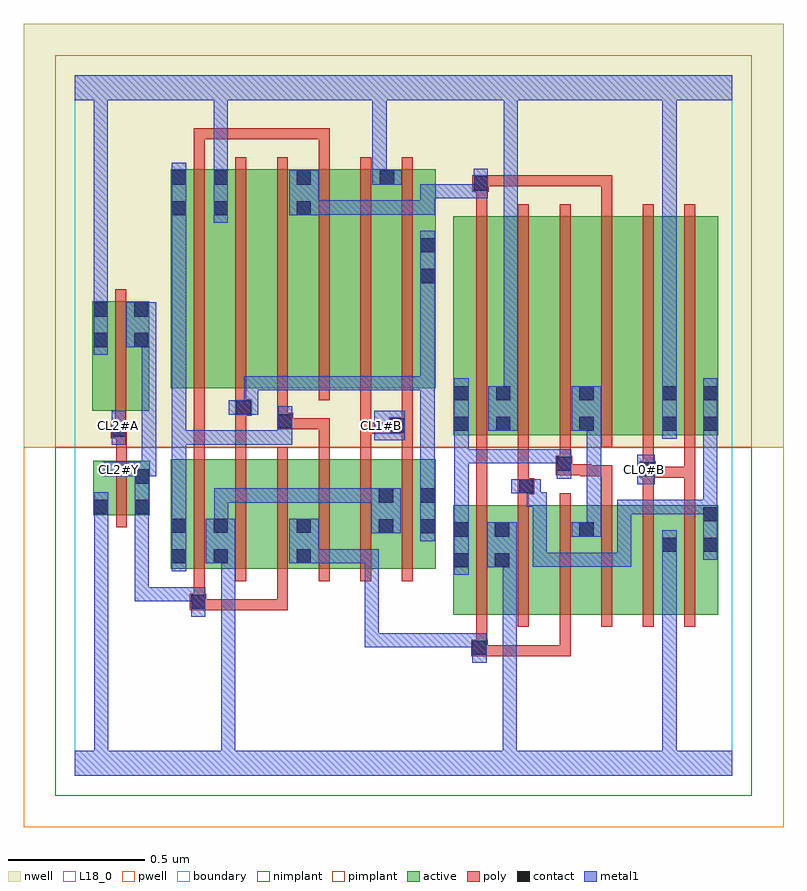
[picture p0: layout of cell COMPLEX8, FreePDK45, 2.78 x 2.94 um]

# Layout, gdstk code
import gdstk
lib = gdstk.Library(unit=1e-6, precision=1e-09)
def R(c, l, rs):  # rectangles x0, y0, x1, y1
    for r in rs: c.add(gdstk.rectangle(r[:2], r[2:], *l))
def A(c, l, x, y, w, h, nx, ny, dx, dy):  # array of equal rectangles
    R(c, l, [(x+i*dx, y+j*dy, x+i*dx+w, y+j*dy+h) for i in range(nx) for j in range(ny)])
active = (1, 0)
pwell = (2, 0)
nwell = (3, 0)
nimplant = (4, 0)
pimplant = (5, 0)
poly = (9, 0)
contact = (10, 0)
metal1 = (11, 0)
L18_0 = (18, 0)
boundary = (235, 0)

complex8 = lib.new_cell('COMPLEX8')
A(complex8, active, 1.534, 1.244, 0.06, 0.8, 3, 1, 0.304, 0)
R(complex8, active, [(1.382,0.588,1.59,0.988), (1.53,0.588,1.714,0.988), (1.714,0.588,1.898,0.988), (1.838,0.588,2.018,0.988), (2.018,0.588,2.202,0.988), (2.142,0.588,2.35,0.988), (0.35,0.756,0.41,1.156), (0.35,0.756,0.562,1.156), (0.502,0.756,0.682,1.156), (0.502,0.756,0.562,1.156), (0.682,0.756,0.866,1.156), (0.806,0.756,0.986,1.156), (0.806,0.756,0.866,1.156), (0.986,0.756,1.166,1.156), (1.106,0.756,1.166,1.156), (1.106,0.756,1.318,1.156), (1.258,0.756,1.318,1.156), (1.382,0.756,1.442,0.988), (1.53,0.756,1.59,0.93), (1.838,0.756,1.898,0.988), (2.142,0.756,2.202,0.874), (2.29,0.756,2.35,0.988), (0.066,0.952,0.126,1.152), (0.066,0.952,0.274,1.152), (0.214,0.952,0.274,1.152), (1.382,1.244,1.442,2.044), (1.382,1.244,1.594,2.044), (1.534,1.244,1.714,2.044), (1.714,1.244,1.898,2.044), (1.838,1.244,2.018,2.044), (2.018,1.244,2.202,2.044), (2.142,1.244,2.35,2.044), (2.29,1.244,2.35,2.044), (0.064,1.334,0.272,1.734), (0.064,1.334,0.124,1.734), (0.212,1.334,0.272,1.734), (0.35,1.416,0.41,2.216), (0.35,1.416,0.562,2.216), (0.502,1.416,0.682,2.216), (0.682,1.416,0.866,2.216), (0.806,1.416,0.866,2.216), (0.806,1.416,0.986,2.216), (0.986,1.416,1.17,2.216), (1.11,1.416,1.318,2.216), (1.258,1.416,1.318,2.044), (0.502,1.65,0.562,2.216), (1.11,1.686,1.17,2.216)])
R(complex8, pwell, [(-0.188,-0.188,2.588,1.2)])
R(complex8, nwell, [(-0.188,1.2,2.588,2.748)])
R(complex8, nimplant, [(-0.072,-0.072,2.472,1.2)])
R(complex8, pimplant, [(-0.072,1.2,2.472,2.632)])
A(complex8, poly, 1.466, 0.544, 0.04, 0.488, 6, 1, 0.152, 0)
A(complex8, poly, 0.434, 0.712, 0.04, 0.488, 6, 1, 0.152, 0)
A(complex8, poly, 1.466, 1.2, 0.04, 0.888, 6, 1, 0.152, 0)
A(complex8, poly, 0.434, 1.372, 0.04, 0.888, 6, 1, 0.152, 0)
R(complex8, poly, [(1.448,0.438,1.508,0.498), (1.468,0.438,1.508,0.478), (1.468,0.438,1.508,0.478), (1.468,0.438,1.618,0.478), (1.578,0.438,1.618,0.478), (1.578,0.438,1.618,0.478), (1.578,0.438,1.618,0.478), (1.578,0.438,1.81,0.478), (1.77,0.438,1.81,0.478), (1.77,0.438,1.81,0.584), (1.466,0.458,1.506,0.584), (0.42,0.606,0.48,0.666), (0.44,0.606,0.48,0.646), (0.44,0.606,0.48,0.646), (0.44,0.606,0.586,0.646), (0.546,0.606,0.586,0.646), (0.546,0.606,0.586,0.646), (0.546,0.606,0.586,0.646), (0.546,0.606,0.778,0.646), (0.738,0.606,0.778,0.646), (0.738,0.606,0.778,0.752), (0.434,0.626,0.474,0.752), (0.15,0.908,0.19,1.196), (1.466,0.992,1.506,1.068), (1.618,0.992,1.658,1.068), (1.922,0.992,1.962,1.134), (2.074,0.992,2.114,1.13), (2.226,0.992,2.266,1.13), (1.466,1.028,1.506,1.068), (1.466,1.028,1.506,1.068), (1.466,1.028,1.506,1.068), (1.466,1.028,1.506,1.24), (1.618,1.028,1.678,1.088), (1.618,1.048,1.658,1.088), (1.618,1.048,1.658,1.088), (1.618,1.048,1.658,1.24), (2.062,1.09,2.122,1.15), (2.074,1.09,2.114,1.13), (2.074,1.09,2.114,1.13), (2.082,1.09,2.266,1.13), (2.226,1.09,2.266,1.24), (2.226,1.09,2.266,1.13), (2.226,1.09,2.266,1.13), (2.226,1.09,2.266,1.13), (2.226,1.09,2.266,1.13), (2.226,1.09,2.266,1.13), (1.846,1.094,1.962,1.134), (1.846,1.094,1.886,1.138), (1.922,1.094,1.962,1.134), (1.922,1.094,1.962,1.134), (1.922,1.094,1.962,1.134), (1.756,1.098,1.816,1.17), (1.776,1.098,1.886,1.138), (2.074,1.11,2.114,1.24), (1.77,1.13,1.81,1.24), (0.15,1.156,0.19,1.274), (0.434,1.16,0.474,1.236), (0.586,1.16,0.626,1.356), (0.89,1.16,0.93,1.306), (1.042,1.16,1.082,1.29), (1.194,1.16,1.234,1.29), (0.434,1.196,0.474,1.236), (0.434,1.196,0.474,1.236), (0.434,1.196,0.474,1.236), (0.434,1.196,0.474,1.412), (0.13,1.234,0.19,1.294), (0.15,1.234,0.19,1.274), (0.15,1.234,0.19,1.274), (1.042,1.25,1.082,1.29), (1.042,1.25,1.082,1.29), (1.042,1.25,1.082,1.29), (1.042,1.25,1.188,1.29), (1.042,1.25,1.082,1.412), (1.148,1.25,1.188,1.29), (1.148,1.25,1.188,1.29), (1.148,1.25,1.234,1.31), (0.148,1.254,0.188,1.33), (0.738,1.266,0.798,1.326), (0.758,1.266,0.93,1.306), (0.89,1.266,0.93,1.306), (0.89,1.266,0.93,1.306), (0.89,1.266,0.93,1.306), (1.194,1.27,1.234,1.31), (1.194,1.27,1.234,1.31), (1.194,1.27,1.234,1.412), (0.738,1.286,0.778,1.326), (0.738,1.286,0.778,1.326), (0.738,1.286,0.778,1.412), (0.148,1.29,0.188,1.778), (0.586,1.316,0.626,1.356), (0.586,1.316,0.626,1.356), (0.586,1.316,0.646,1.376), (0.586,1.336,0.626,1.412), (1.466,2.048,1.506,2.174), (1.922,2.048,1.962,2.194), (1.452,2.134,1.512,2.194), (1.472,2.154,1.512,2.194), (1.472,2.154,1.512,2.194), (1.472,2.154,1.674,2.194), (1.634,2.154,1.674,2.194), (1.634,2.154,1.78,2.194), (1.74,2.154,1.78,2.194), (1.74,2.154,1.78,2.194), (1.74,2.154,1.78,2.194), (1.74,2.154,1.962,2.194), (1.922,2.154,1.962,2.194), (1.922,2.154,1.962,2.194), (1.922,2.154,1.962,2.194), (0.434,2.22,0.474,2.366), (0.89,2.22,0.93,2.366), (0.434,2.326,0.474,2.366), (0.434,2.326,0.474,2.366), (0.434,2.326,0.474,2.366), (0.434,2.326,0.672,2.366), (0.632,2.326,0.672,2.366), (0.632,2.326,0.672,2.366), (0.632,2.326,0.672,2.366), (0.632,2.326,0.824,2.366), (0.784,2.326,0.824,2.366), (0.784,2.326,0.93,2.366), (0.89,2.326,0.93,2.366), (0.89,2.326,0.93,2.366), (0.89,2.326,0.93,2.366)])
A(complex8, contact, 1.538, 1.26, 0.052, 0.052, 3, 2, 0.304, 0.112)
A(complex8, contact, 0.506, 2.16, 0.052, 0.052, 3, 1, 0.304, 0)
R(complex8, contact, [(1.452,0.442,1.504,0.494), (0.424,0.61,0.476,0.662), (1.386,0.762,1.438,0.814), (1.534,0.762,1.586,0.814), (0.354,0.776,0.406,0.828), (0.506,0.776,0.558,0.828), (0.81,0.776,0.862,0.828), (2.146,0.818,2.198,0.87), (2.294,0.818,2.346,0.87), (1.386,0.874,1.438,0.926), (1.534,0.874,1.586,0.926), (1.842,0.874,1.894,0.926), (1.11,0.886,1.162,0.938), (1.262,0.886,1.314,0.938), (0.354,0.888,0.406,0.94), (0.506,0.888,0.558,0.94), (0.81,0.888,0.862,0.94), (2.294,0.93,2.346,0.982), (0.07,0.956,0.122,1.008), (0.218,0.956,0.27,1.008), (1.11,0.998,1.162,1.05), (1.262,0.998,1.314,1.05), (1.622,1.032,1.674,1.084), (0.218,1.068,0.27,1.12), (2.066,1.094,2.118,1.146), (1.76,1.114,1.812,1.166), (0.134,1.238,0.186,1.29), (1.152,1.254,1.204,1.306), (1.386,1.26,1.438,1.312), (2.294,1.26,2.346,1.312), (0.742,1.27,0.794,1.322), (0.59,1.32,0.642,1.372), (1.386,1.372,1.438,1.424), (2.294,1.372,2.346,1.424), (0.068,1.566,0.12,1.618), (0.216,1.566,0.268,1.618), (0.068,1.678,0.12,1.73), (0.216,1.678,0.268,1.73), (1.262,1.8,1.314,1.852), (1.262,1.912,1.314,1.964), (0.354,2.048,0.406,2.1), (0.506,2.048,0.558,2.1), (0.81,2.048,0.862,2.1), (1.456,2.138,1.508,2.19), (0.354,2.16,0.406,2.212)])
A(complex8, metal1, 0.508, 0.998, 0.162, 0.052, 4, 1, 0.11, 0)
A(complex8, metal1, 0.618, 0.998, 0.052, 0.052, 3, 1, 0.11, 0)
A(complex8, metal1, 1.386, 1.142, 0.052, 0.052, 3, 1, 0.11, 0)
A(complex8, metal1, 0.618, 1.408, 0.162, 0.052, 4, 1, 0.11, 0)
R(complex8, metal1, [(0,0,2.4,0.092), (0.07,0.04,0.122,0.092), (0.07,0.04,0.122,0.092), (0.07,0.04,0.122,0.092), (0.07,0.04,0.122,0.092), (0.07,0.04,0.122,0.092), (0.07,0.04,0.122,0.092), (0.07,0.04,0.122,0.092), (0.07,0.04,0.122,0.092), (0.07,0.04,0.122,0.092), (0.07,0.04,0.122,0.092), (0.07,0.04,0.122,0.092), (0.07,0.04,0.122,0.092), (0.07,0.04,0.122,0.092), (0.07,0.04,0.122,0.092), (0.07,0.04,0.122,0.98), (0.534,0.04,0.586,0.092), (0.534,0.04,0.586,0.092), (0.534,0.04,0.586,0.828), (1.562,0.04,1.614,0.092), (1.562,0.04,1.614,0.092), (1.562,0.04,1.614,0.092), (1.562,0.04,1.614,0.092), (1.562,0.04,1.614,0.092), (1.562,0.04,1.614,0.092), (1.562,0.04,1.614,0.092), (1.562,0.04,1.614,0.092), (1.562,0.04,1.614,0.092), (1.562,0.04,1.614,0.092), (1.562,0.04,1.614,0.092), (1.562,0.04,1.614,0.092), (1.562,0.04,1.614,0.814), (2.146,0.04,2.198,0.842), (1.452,0.414,1.504,0.522), (1.058,0.47,1.11,0.522), (1.058,0.47,1.11,0.522), (1.058,0.47,1.11,0.522), (1.058,0.47,1.328,0.522), (1.058,0.47,1.11,0.828), (1.276,0.47,1.328,0.522), (1.276,0.47,1.328,0.522), (1.276,0.47,1.328,0.522), (1.276,0.47,1.504,0.522), (0.424,0.582,0.476,0.69), (0.218,0.638,0.27,0.69), (0.218,0.638,0.27,0.69), (0.218,0.638,0.27,0.69), (0.218,0.638,0.27,0.69), (0.218,0.638,0.27,0.69), (0.218,0.638,0.27,0.69), (0.218,0.638,0.27,0.69), (0.218,0.638,0.42,0.69), (0.218,0.638,0.27,0.98), (0.368,0.638,0.42,0.69), (0.368,0.638,0.476,0.69), (1.386,0.734,1.438,0.954), (0.354,0.748,0.406,0.968), (1.506,0.762,1.614,0.926), (1.672,0.764,1.724,0.816), (1.672,0.764,1.812,0.816), (1.672,0.764,1.724,1.036), (1.76,0.764,1.812,0.816), (1.76,0.764,1.922,0.816), (1.87,0.764,1.922,0.816), (1.87,0.764,1.922,0.816), (1.87,0.764,1.922,0.816), (1.87,0.764,2.032,0.816), (1.98,0.764,2.032,0.816), (1.98,0.764,2.032,1.008), (0.478,0.776,0.586,0.94), (0.534,0.776,0.586,0.828), (0.534,0.776,0.586,0.828), (0.534,0.776,0.586,0.828), (0.534,0.776,0.586,0.828), (0.534,0.776,0.586,0.828), (0.534,0.776,0.586,0.828), (0.534,0.776,0.586,0.828), (0.534,0.776,0.586,0.828), (0.534,0.776,0.586,0.828), (0.534,0.776,0.586,0.828), (0.782,0.776,0.89,0.94), (0.838,0.776,0.89,0.828), (0.838,0.776,0.89,0.828), (0.838,0.776,1,0.828), (0.948,0.776,1,0.828), (0.948,0.776,1,0.828), (0.948,0.776,1,0.828), (0.948,0.776,1.11,0.828), (1.058,0.776,1.11,0.828), (2.146,0.79,2.198,0.842), (2.146,0.79,2.198,0.842), (2.146,0.79,2.198,0.842), (2.146,0.79,2.198,0.842), (2.146,0.79,2.198,0.842), (2.146,0.79,2.198,0.842), (2.146,0.79,2.198,0.842), (2.146,0.79,2.198,0.842), (2.146,0.79,2.198,0.842), (2.146,0.79,2.198,0.842), (2.146,0.79,2.198,0.842), (2.146,0.79,2.198,0.842), (2.146,0.79,2.198,0.898), (2.294,0.79,2.346,1.01), (1.262,0.858,1.314,1.078), (1.814,0.874,1.922,0.926), (1.87,0.874,1.922,0.926), (1.87,0.874,1.922,0.926), (1.87,0.874,1.922,1.312), (1.082,0.886,1.19,1.05), (0.508,0.888,0.56,0.94), (0.508,0.888,0.56,0.94), (0.508,0.888,0.56,1.05), (1.386,0.902,1.438,0.954), (1.386,0.902,1.438,0.954), (1.386,0.902,1.438,1.194), (0.354,0.916,0.406,1.262), (0.07,0.928,0.122,0.98), (0.07,0.928,0.122,0.98), (0.07,0.928,0.122,1.036), (0.218,0.928,0.27,1.148), (1.98,0.956,2.032,1.008), (1.98,0.956,2.142,1.008), (2.09,0.956,2.142,1.008), (2.09,0.956,2.142,1.008), (2.09,0.956,2.142,1.008), (2.09,0.956,2.346,1.008), (2.294,0.956,2.346,1.008), (2.294,0.956,2.346,1.008), (2.294,0.958,2.346,1.01), (2.294,0.958,2.346,1.01), (2.294,0.958,2.346,1.284), (1.65,0.984,1.702,1.084), (1.65,0.984,1.724,1.036), (0.508,0.998,0.56,1.05), (0.508,0.998,0.56,1.05), (0.508,0.998,0.56,1.05), (0.618,0.998,0.67,1.05), (0.618,0.998,0.67,1.05), (0.838,0.998,0.89,1.05), (0.838,0.998,0.89,1.05), (0.948,0.998,1,1.05), (0.948,0.998,1,1.05), (0.948,0.998,1,1.05), (0.948,0.998,1.134,1.05), (1.262,1.026,1.314,1.078), (1.262,1.026,1.314,1.078), (1.262,1.026,1.314,1.46), (1.594,1.032,1.702,1.084), (1.65,1.032,1.702,1.084), (1.65,1.032,1.702,1.084), (2.054,1.066,2.118,1.174), (1.76,1.086,1.812,1.194), (0.106,1.094,0.296,1.148), (0.218,1.094,0.27,1.146), (0.244,1.096,0.296,1.148), (0.244,1.096,0.296,1.148), (0.244,1.096,0.296,1.618), (1.386,1.142,1.438,1.194), (1.386,1.142,1.438,1.194), (1.386,1.142,1.548,1.194), (1.386,1.142,1.438,1.284), (1.496,1.142,1.658,1.194), (1.606,1.142,1.658,1.194), (1.606,1.142,1.658,1.194), (1.606,1.142,1.812,1.194), (0.134,1.21,0.186,1.334), (0.354,1.21,0.406,1.262), (0.354,1.21,0.406,1.262), (0.354,1.21,0.406,1.262), (0.354,1.21,0.56,1.262), (0.354,1.21,0.406,2.072), (0.508,1.21,0.56,1.262), (0.508,1.21,0.586,1.262), (0.534,1.21,0.586,1.262), (0.534,1.21,0.67,1.262), (0.618,1.21,0.67,1.262), (0.618,1.21,0.794,1.262), (0.742,1.21,0.794,1.35), (1.094,1.226,1.204,1.334), (1.386,1.232,1.438,1.452), (2.146,1.232,2.198,1.452), (2.294,1.232,2.346,1.284), (2.294,1.232,2.346,1.284), (2.294,1.232,2.346,1.452), (1.51,1.26,1.618,1.424), (1.814,1.26,1.922,1.424), (1.87,1.26,1.922,1.312), (1.87,1.26,1.922,1.312), (0.562,1.32,0.67,1.372), (0.618,1.32,0.67,1.372), (0.618,1.32,0.67,1.46), (1.566,1.372,1.618,2.52), (2.146,1.4,2.198,1.452), (2.146,1.4,2.198,1.452), (2.146,1.4,2.198,1.452), (2.146,1.4,2.198,1.452), (2.146,1.4,2.198,2.52), (0.728,1.408,0.78,1.46), (0.838,1.408,0.89,1.46), (0.838,1.408,0.89,1.46), (0.838,1.408,0.89,1.46), (0.948,1.408,1,1.46), (0.948,1.408,1,1.46), (0.948,1.408,1,1.46), (1.058,1.408,1.11,1.46), (1.058,1.408,1.11,1.46), (1.058,1.408,1.11,1.46), (1.058,1.408,1.314,1.46), (1.262,1.408,1.314,1.46), (1.262,1.408,1.314,1.824), (0.068,1.538,0.12,1.758), (0.188,1.566,0.296,1.73), (0.068,1.706,0.12,1.758), (0.068,1.706,0.12,1.758), (0.068,1.706,0.12,1.758), (0.068,1.706,0.12,1.758), (0.068,1.706,0.12,1.758), (0.068,1.706,0.12,1.758), (0.068,1.706,0.12,1.758), (0.068,1.706,0.12,1.758), (0.068,1.706,0.12,1.758), (0.068,1.706,0.12,1.758), (0.068,1.706,0.12,1.758), (0.068,1.706,0.12,1.758), (0.068,1.706,0.12,1.758), (0.068,1.706,0.12,1.758), (0.068,1.706,0.12,1.758), (0.068,1.706,0.12,1.758), (0.068,1.706,0.12,2.52), (1.262,1.772,1.314,1.992), (0.354,2.02,0.406,2.072), (0.354,2.02,0.406,2.072), (0.354,2.02,0.406,2.24), (0.506,2.02,0.558,2.24), (0.782,2.048,0.89,2.212), (0.838,2.05,0.89,2.102), (0.838,2.05,0.89,2.102), (0.838,2.05,1,2.102), (0.948,2.05,1,2.102), (0.948,2.05,1,2.102), (0.948,2.05,1,2.102), (0.948,2.05,1.204,2.102), (1.152,2.05,1.204,2.102), (1.152,2.05,1.204,2.102), (1.152,2.05,1.204,2.102), (1.152,2.05,1.314,2.102), (1.262,2.05,1.314,2.102), (1.262,2.05,1.314,2.162), (1.262,2.11,1.314,2.162), (1.262,2.11,1.314,2.162), (1.262,2.11,1.314,2.162), (1.262,2.11,1.314,2.162), (1.262,2.11,1.314,2.162), (1.262,2.11,1.508,2.162), (1.456,2.11,1.508,2.218), (1.086,2.16,1.138,2.212), (1.086,2.16,1.138,2.212), (1.086,2.16,1.138,2.212), (1.086,2.16,1.138,2.212), (1.086,2.16,1.194,2.212), (1.086,2.16,1.138,2.52), (0.506,2.188,0.558,2.52), (0,2.468,2.4,2.56), (0.506,2.468,0.558,2.52), (0.506,2.468,0.558,2.52), (0.506,2.468,0.558,2.52), (0.506,2.468,0.558,2.52), (0.506,2.468,0.558,2.52), (0.506,2.468,0.558,2.52), (0.506,2.468,0.558,2.52), (0.506,2.468,0.558,2.52), (1.086,2.468,1.138,2.52), (1.086,2.468,1.138,2.52), (1.086,2.468,1.138,2.52), (1.086,2.468,1.138,2.52), (1.566,2.468,1.618,2.52), (1.566,2.468,1.618,2.52), (1.566,2.468,1.618,2.52), (1.566,2.468,1.618,2.52), (1.566,2.468,1.618,2.52), (1.566,2.468,1.618,2.52), (1.566,2.468,1.618,2.52), (1.566,2.468,1.618,2.52), (2.146,2.468,2.198,2.52), (2.146,2.468,2.198,2.52), (2.146,2.468,2.198,2.52), (2.146,2.468,2.198,2.52)])
A(complex8, L18_0, 0.508, 0.998, 0.162, 0.052, 4, 1, 0.11, 0)
A(complex8, L18_0, 0.618, 0.998, 0.052, 0.052, 3, 1, 0.11, 0)
R(complex8, L18_0, [(0,0,2.4,0.092), (0.07,0.04,0.122,0.092), (0.07,0.04,0.122,0.092), (0.07,0.04,0.122,0.092), (0.07,0.04,0.122,0.092), (0.07,0.04,0.122,0.092), (0.07,0.04,0.122,0.092), (0.07,0.04,0.122,0.092), (0.07,0.04,0.122,0.092), (0.07,0.04,0.122,0.092), (0.07,0.04,0.122,0.092), (0.07,0.04,0.122,0.092), (0.07,0.04,0.122,0.092), (0.07,0.04,0.122,0.092), (0.07,0.04,0.122,0.092), (0.07,0.04,0.122,0.98), (0.534,0.04,0.586,0.092), (0.534,0.04,0.586,0.092), (0.534,0.04,0.586,0.828), (1.562,0.04,1.614,0.092), (1.562,0.04,1.614,0.092), (1.562,0.04,1.614,0.092), (1.562,0.04,1.614,0.092), (1.562,0.04,1.614,0.092), (1.562,0.04,1.614,0.092), (1.562,0.04,1.614,0.092), (1.562,0.04,1.614,0.092), (1.562,0.04,1.614,0.092), (1.562,0.04,1.614,0.092), (1.562,0.04,1.614,0.092), (1.562,0.04,1.614,0.092), (1.562,0.04,1.614,0.814), (2.146,0.04,2.198,0.842), (0.424,0.582,0.476,0.69), (0.218,0.638,0.27,0.69), (0.218,0.638,0.27,0.69), (0.218,0.638,0.27,0.69), (0.218,0.638,0.27,0.69), (0.218,0.638,0.27,0.69), (0.218,0.638,0.27,0.69), (0.218,0.638,0.27,0.69), (0.218,0.638,0.27,0.98), (0.218,0.638,0.42,0.69), (0.368,0.638,0.42,0.69), (0.368,0.638,0.476,0.69), (1.506,0.762,1.614,0.926), (0.478,0.776,0.586,0.94), (0.534,0.776,0.586,0.828), (0.534,0.776,0.586,0.828), (0.534,0.776,0.586,0.828), (0.534,0.776,0.586,0.828), (0.534,0.776,0.586,0.828), (0.534,0.776,0.586,0.828), (0.534,0.776,0.586,0.828), (0.534,0.776,0.586,0.828), (0.534,0.776,0.586,0.828), (0.534,0.776,0.586,0.828), (2.146,0.79,2.198,0.842), (2.146,0.79,2.198,0.842), (2.146,0.79,2.198,0.842), (2.146,0.79,2.198,0.842), (2.146,0.79,2.198,0.842), (2.146,0.79,2.198,0.842), (2.146,0.79,2.198,0.842), (2.146,0.79,2.198,0.842), (2.146,0.79,2.198,0.842), (2.146,0.79,2.198,0.842), (2.146,0.79,2.198,0.842), (2.146,0.79,2.198,0.842), (2.146,0.79,2.198,0.898), (1.082,0.886,1.19,1.05), (0.508,0.888,0.56,0.94), (0.508,0.888,0.56,0.94), (0.508,0.888,0.56,1.05), (0.07,0.928,0.122,0.98), (0.07,0.928,0.122,0.98), (0.07,0.928,0.122,1.036), (0.218,0.928,0.27,1.148), (0.508,0.998,0.56,1.05), (0.508,0.998,0.56,1.05), (0.508,0.998,0.56,1.05), (0.618,0.998,0.67,1.05), (0.618,0.998,0.67,1.05), (0.838,0.998,0.89,1.05), (0.838,0.998,0.89,1.05), (0.948,0.998,1,1.05), (0.948,0.998,1,1.05), (0.948,0.998,1,1.05), (0.948,0.998,1.134,1.05), (2.054,1.066,2.118,1.174), (0.106,1.094,0.296,1.148), (0.134,1.094,0.186,1.146), (0.218,1.094,0.27,1.146), (2.054,1.094,2.106,1.146), (0.244,1.096,0.296,1.148), (0.244,1.096,0.296,1.148), (0.244,1.096,0.296,1.618), (0.134,1.21,0.186,1.334), (1.094,1.226,1.204,1.334), (2.146,1.232,2.198,1.452), (0.134,1.254,0.186,1.306), (1.094,1.254,1.146,1.306), (1.51,1.26,1.618,1.424), (1.566,1.372,1.618,2.52), (2.146,1.4,2.198,1.452), (2.146,1.4,2.198,1.452), (2.146,1.4,2.198,1.452), (2.146,1.4,2.198,1.452), (2.146,1.4,2.198,2.52), (0.068,1.538,0.12,1.758), (0.188,1.566,0.296,1.73), (0.068,1.706,0.12,1.758), (0.068,1.706,0.12,1.758), (0.068,1.706,0.12,1.758), (0.068,1.706,0.12,1.758), (0.068,1.706,0.12,1.758), (0.068,1.706,0.12,1.758), (0.068,1.706,0.12,1.758), (0.068,1.706,0.12,1.758), (0.068,1.706,0.12,1.758), (0.068,1.706,0.12,1.758), (0.068,1.706,0.12,1.758), (0.068,1.706,0.12,1.758), (0.068,1.706,0.12,1.758), (0.068,1.706,0.12,1.758), (0.068,1.706,0.12,1.758), (0.068,1.706,0.12,1.758), (0.068,1.706,0.12,2.52), (0.506,2.02,0.558,2.24), (1.086,2.16,1.138,2.212), (1.086,2.16,1.138,2.212), (1.086,2.16,1.138,2.212), (1.086,2.16,1.138,2.212), (1.086,2.16,1.194,2.212), (1.086,2.16,1.138,2.52), (0.506,2.188,0.558,2.52), (0,2.468,2.4,2.56), (0.506,2.468,0.558,2.52), (0.506,2.468,0.558,2.52), (0.506,2.468,0.558,2.52), (0.506,2.468,0.558,2.52), (0.506,2.468,0.558,2.52), (0.506,2.468,0.558,2.52), (0.506,2.468,0.558,2.52), (0.506,2.468,0.558,2.52), (1.086,2.468,1.138,2.52), (1.086,2.468,1.138,2.52), (1.086,2.468,1.138,2.52), (1.086,2.468,1.138,2.52), (1.566,2.468,1.618,2.52), (1.566,2.468,1.618,2.52), (1.566,2.468,1.618,2.52), (1.566,2.468,1.618,2.52), (1.566,2.468,1.618,2.52), (1.566,2.468,1.618,2.52), (1.566,2.468,1.618,2.52), (1.566,2.468,1.618,2.52), (2.146,2.468,2.198,2.52), (2.146,2.468,2.198,2.52), (2.146,2.468,2.198,2.52), (2.146,2.468,2.198,2.52)])
R(complex8, boundary, [(0,0,2.4,2.56)])
complex8.add(gdstk.Label('CL0#B', (2.08,1.12), layer=11, texttype=0))
complex8.add(gdstk.Label('CL1#B', (1.12,1.28), layer=11, texttype=0))
complex8.add(gdstk.Label('CL2#A', (0.16,1.28), layer=11, texttype=0))
complex8.add(gdstk.Label('CL2#Y', (0.16,1.12), layer=11, texttype=0))

lib.write_gds('COMPLEX8.gds')
